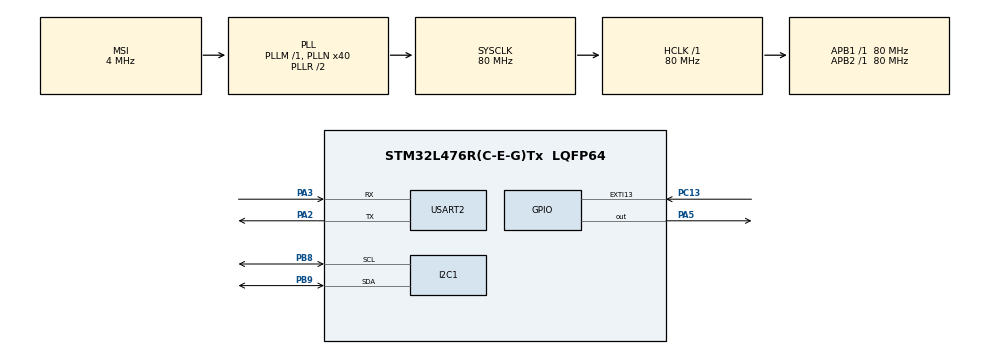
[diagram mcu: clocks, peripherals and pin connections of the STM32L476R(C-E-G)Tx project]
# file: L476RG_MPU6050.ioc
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I2C1.Timing=0x10D19CE4
Mcu.Family=STM32L4
Mcu.Name=STM32L476R(C-E-G)Tx
Mcu.Package=LQFP64
NVIC.EXTI15_10_IRQn=true\:0\:0\:false\:false\:true\:true\:true\:true
NVIC.PriorityGroup=NVIC_PRIORITYGROUP_4
PA13\ (JTMS-SWDIO).Mode=Serial_Wire
PA13\ (JTMS-SWDIO).Signal=SYS_JTMS-SWDIO
PA14\ (JTCK-SWCLK).Mode=Serial_Wire
PA14\ (JTCK-SWCLK).Signal=SYS_JTCK-SWCLK
PA2.Mode=Asynchronous
PA2.Signal=USART2_TX
PA3.Mode=Asynchronous
PA3.Signal=USART2_RX
PA5.Signal=GPIO_Output
PB8.Mode=I2C
PB8.Signal=I2C1_SCL
PB9.Mode=I2C
PB9.Signal=I2C1_SDA
PC13.Signal=GPXTI13
PH0-OSC_IN\ (PH0).Mode=HSE-External-Oscillator
PH0-OSC_IN\ (PH0).Signal=RCC_OSC_IN
PH1-OSC_OUT\ (PH1).Mode=HSE-External-Oscillator
PH1-OSC_OUT\ (PH1).Signal=RCC_OSC_OUT
ProjectManager.HeapSize=0x200
ProjectManager.StackSize=0x400
ProjectManager.TargetToolchain=Makefile
RCC.ADCFreq_Value=16000000
RCC.AHBFreq_Value=80000000
RCC.APB1Freq_Value=80000000
RCC.APB1TimFreq_Value=80000000
RCC.APB2Freq_Value=80000000
RCC.APB2TimFreq_Value=80000000
RCC.CortexFreq_Value=80000000
RCC.HCLKFreq_Value=80000000
RCC.HSE_VALUE=8000000
RCC.HSI_VALUE=16000000
RCC.LSE_VALUE=32768
RCC.MSI_VALUE=4000000
RCC.PLLN=40
RCC.PREFETCH_ENABLE=1
RCC.SYSCLKFreq_VALUE=80000000
RCC.SYSCLKSource=RCC_SYSCLKSOURCE_PLLCLK
RCC.USBFreq_Value=16000000
RCC.VCOOutputFreq_Value=160000000
USART2.VirtualMode-Asynchronous=VM_ASYNC
board=NUCLEO-L476RG

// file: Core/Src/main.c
/* USER CODE BEGIN Header */
/**
 ******************************************************************************
 * @file           : main.c
 * @brief          : MPU6050 IMU measurement application using STM32 HAL
 * @author         : Cem Ozan Yilmaz
 * @date           : 12.09.2026 (dd/mm/yyyy)
 ******************************************************************************
 * @details
 *
 * This application interfaces the MPU6050 IMU with a NUCLEO-L476RG
 * over I2C using a custom STM32 HAL-based MPU6050 driver.
 *
 * The application:
 * - Verifies the sensor identity using the WHO_AM_I register
 * - Wakes the MPU6050 and configures its operating parameters
 * - Configures the accelerometer and gyroscope measurement ranges
 * - Configures the digital low-pass filter and sample rate
 * - Reads acceleration, angular velocity, and internal temperature
 * - Sends the measurement results over UART
 *
 ******************************************************************************
 */
/* USER CODE END Header */
#include <stdio.h>
#include <stdlib.h>
#include <string.h>
#include "main.h"
#include "i2c.h"
#include "usart.h"
#include "gpio.h"
#include "mpu6050.h"

/* USER CODE BEGIN PV */
  /* Initialize the SHT3x driver with the detected 7-bit I2C address. */

 uint8_t who_am_i;
 float accel_x, accel_y, accel_z;
 float gyro_x, gyro_y, gyro_z;
 float temperature;

 char uart_buffer[150];

/* USER CODE END PV */

void SystemClock_Config(void);

int main(void)
{

  /* MCU Configuration--------------------------------------------------------*/

  /* Reset of all peripherals, Initializes the Flash interface and the Systick. */
  HAL_Init();

  /* Configure the system clock */
  SystemClock_Config();

  /* Initialize all configured peripherals */
  MX_GPIO_Init();
  MX_USART2_UART_Init();
  MX_I2C1_Init();
  /* USER CODE BEGIN 2 */

  mpu6050_read_who_am_i(&hi2c1, &who_am_i);

  mpu6050_wake_up(&hi2c1);

  mpu6050_configuration(&hi2c1);          // DLPF_CFG = 3

  mpu6050_sample_rate_division(&hi2c1);   // 100 Hz

  mpu6050_gyro_configuration(&hi2c1, 0);  // ±250 dps

  mpu6050_accel_configuration(&hi2c1, 0); // ±2 g

  /* USER CODE END 2 */

    /* Infinite loop */
  while (1)
  {

    mpu6050_read_accel(&hi2c1, &accel_x, &accel_y, &accel_z);
    mpu6050_read_gyro(&hi2c1, &gyro_x, &gyro_y, &gyro_z);
    mpu6050_read_temp(&hi2c1, &temperature);

    int ax = (int)(accel_x * 1000.0f);
    int ay = (int)(accel_y * 1000.0f);
    int az = (int)(accel_z * 1000.0f);

    int gx = (int)(gyro_x * 1000.0f);
    int gy = (int)(gyro_y * 1000.0f);
    int gz = (int)(gyro_z * 1000.0f);

    int temp = (int)(temperature * 100.0f);

    int len = snprintf(
    uart_buffer,
    sizeof(uart_buffer),
    "ACC: X=%d Y=%d Z=%d mg | "
    "GYRO: X=%d Y=%d Z=%d mdps | "
    "TEMP=%d.%02d C\r\n",
    ax, ay, az,
    gx, gy, gz,
    temp / 100,
    temp % 100);

    HAL_UART_Transmit(
    &huart2,
    (uint8_t *)uart_buffer,
    len,
    100);

    HAL_Delay(500);

  }
}

void SystemClock_Config(void)
{
  RCC_OscInitTypeDef RCC_OscInitStruct = {0};
  RCC_ClkInitTypeDef RCC_ClkInitStruct = {0};

  /** Configure the main internal regulator output voltage
  */
  if (HAL_PWREx_ControlVoltageScaling(PWR_REGULATOR_VOLTAGE_SCALE1) != HAL_OK)
  {
    Error_Handler();
  }

  /** Initializes the RCC Oscillators according to the specified parameters
  * in the RCC_OscInitTypeDef structure.
  */
  RCC_OscInitStruct.OscillatorType = RCC_OSCILLATORTYPE_MSI;
  RCC_OscInitStruct.MSIState = RCC_MSI_ON;
  RCC_OscInitStruct.MSICalibrationValue = 0;
  RCC_OscInitStruct.MSIClockRange = RCC_MSIRANGE_6;
  RCC_OscInitStruct.PLL.PLLState = RCC_PLL_ON;
  RCC_OscInitStruct.PLL.PLLSource = RCC_PLLSOURCE_MSI;
  RCC_OscInitStruct.PLL.PLLM = 1;
  RCC_OscInitStruct.PLL.PLLN = 40;
  RCC_OscInitStruct.PLL.PLLP = RCC_PLLP_DIV7;
  RCC_OscInitStruct.PLL.PLLQ = RCC_PLLQ_DIV2;
  RCC_OscInitStruct.PLL.PLLR = RCC_PLLR_DIV2;
  if (HAL_RCC_OscConfig(&RCC_OscInitStruct) != HAL_OK)
  {
    Error_Handler();
  }

  /** Initializes the CPU, AHB and APB buses clocks
  */
  RCC_ClkInitStruct.ClockType = RCC_CLOCKTYPE_HCLK|RCC_CLOCKTYPE_SYSCLK
                              |RCC_CLOCKTYPE_PCLK1|RCC_CLOCKTYPE_PCLK2;
  RCC_ClkInitStruct.SYSCLKSource = RCC_SYSCLKSOURCE_PLLCLK;
  RCC_ClkInitStruct.AHBCLKDivider = RCC_SYSCLK_DIV1;
  RCC_ClkInitStruct.APB1CLKDivider = RCC_HCLK_DIV1;
  RCC_ClkInitStruct.APB2CLKDivider = RCC_HCLK_DIV1;

  if (HAL_RCC_ClockConfig(&RCC_ClkInitStruct, FLASH_LATENCY_4) != HAL_OK)
  {
    Error_Handler();
  }
}

/* USER CODE BEGIN 4 */

static void SYSCLKConfig_STOP(void)
{
  RCC_ClkInitTypeDef RCC_ClkInitStruct = {0};
  RCC_OscInitTypeDef RCC_OscInitStruct = {0};
  uint32_t pFLatency = 0;

  /* Enable Power Control clock */
  __HAL_RCC_PWR_CLK_ENABLE();

  /* Get the Oscillators configuration according to the internal RCC registers */
  HAL_RCC_GetOscConfig(&RCC_OscInitStruct);

  /* Enable PLL */
  RCC_OscInitStruct.OscillatorType = RCC_OSCILLATORTYPE_NONE;
  RCC_OscInitStruct.PLL.PLLState = RCC_PLL_ON;
  if (HAL_RCC_OscConfig(&RCC_OscInitStruct) != HAL_OK)
  {
    Error_Handler();
  }

  /* Get the Clocks configuration according to the internal RCC registers */
  HAL_RCC_GetClockConfig(&RCC_ClkInitStruct, &pFLatency);

  /* Select PLL as system clock source and keep HCLK, PCLK1 and PCLK2 clocks dividers as before */
  RCC_ClkInitStruct.ClockType     = RCC_CLOCKTYPE_SYSCLK;
  RCC_ClkInitStruct.SYSCLKSource  = RCC_SYSCLKSOURCE_PLLCLK;
  if (HAL_RCC_ClockConfig(&RCC_ClkInitStruct, pFLatency) != HAL_OK)
  {
    Error_Handler();
  }
}
/* USER CODE END 4 */

void Error_Handler(void)
{
  __disable_irq();
  while (1)
  {
  }
}
